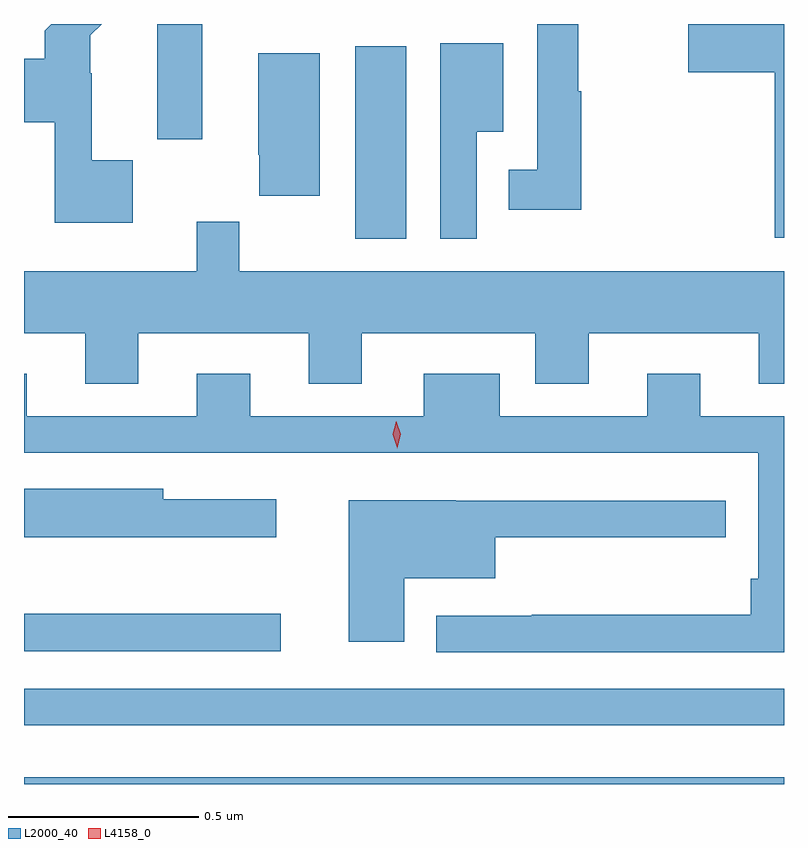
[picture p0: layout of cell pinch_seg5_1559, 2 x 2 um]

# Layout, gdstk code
import gdstk
lib = gdstk.Library(unit=1e-6, precision=1e-09)
def R(c, l, rs):  # rectangles x0, y0, x1, y1
    for r in rs: c.add(gdstk.rectangle(r[:2], r[2:], *l))
def P(c, l, *ps):  # polygons
    for p in ps: c.add(gdstk.Polygon(p, *l))
L2000_40 = (2000, 40)
L4158_0 = (4158, 0)

pinch_seg5_1559 = lib.new_cell('pinch_seg5_1559')
R(pinch_seg5_1559, L2000_40, [(348.744,844.918,350.744,844.936), (348.744,845.072,350.744,845.169), (348.744,845.268,349.42,845.366), (349.616,846.353,349.75,846.859), (349.094,846.615,349.213,846.918)])
P(pinch_seg5_1559, L2000_40, [(350.744,846.918),(350.492,846.918),(350.492,846.791),(350.72,846.791),(350.72,846.356),(350.744,846.356)],
  [(349.03,846.559),(348.922,846.559),(348.922,846.788),(348.918,846.788),(348.918,846.888),(348.948,846.918),(348.816,846.918),(348.798,846.9),(348.798,846.826),(348.744,846.826),(348.744,846.659),(348.825,846.659),(348.825,846.395),(349.03,846.395)],
  [(350.21,846.741),(350.203,846.741),(350.203,846.918),(350.094,846.918),(350.094,846.534),(350.02,846.534),(350.02,846.429),(350.21,846.429)],
  [(349.935,846.635),(350.005,846.635),(350.005,846.868),(349.839,846.868),(349.839,846.353),(349.935,846.353)],
  [(349.522,846.841),(349.361,846.841),(349.361,846.574),(349.363,846.574),(349.363,846.466),(349.522,846.466)],
  [(349.045,846.104),(349.493,846.104),(349.493,845.971),(349.633,845.971),(349.633,846.104),(350.09,846.104),(350.09,845.971),(350.23,845.971),(350.23,846.104),(350.678,846.104),(350.678,845.971),(350.744,845.971),(350.744,846.268),(349.311,846.268),(349.311,846.398),(349.199,846.398),(349.199,846.268),(348.744,846.268),(348.744,846.104),(348.905,846.104),(348.905,845.971),(349.045,845.971)],
  [(350.744,845.886),(350.524,845.886),(350.524,845.998),(350.384,845.998),(350.384,845.886),(349.996,845.886),(349.996,845.998),(349.796,845.998),(349.796,845.886),(349.339,845.886),(349.339,845.998),(349.199,845.998),(349.199,845.886),(348.751,845.886),(348.751,845.998),(348.744,845.998),(348.744,845.79),(350.676,845.79),(350.676,845.458),(350.656,845.458),(350.656,845.363),(350.08,845.363),(350.08,845.361),(349.829,845.361),(349.829,845.265),(350.744,845.265)],
  [(349.408,845.668),(349.11,845.668),(349.11,845.695),(348.744,845.695),(348.744,845.567),(349.408,845.567)],
  [(349.744,845.459),(349.984,845.459),(349.984,845.567),(350.591,845.567),(350.591,845.663),(350.48,845.663),(350.48,845.664),(349.88,845.664),(349.88,845.665),(349.598,845.665),(349.598,845.292),(349.744,845.292)])
P(pinch_seg5_1559, L4158_0, [(349.726,845.802),(349.726,845.803),(349.715,845.838),(349.723,845.873),(349.724,845.873),(349.724,845.873),(349.735,845.838),(349.726,845.803)])

lib.write_gds('pinch_seg5_1559.gds')
